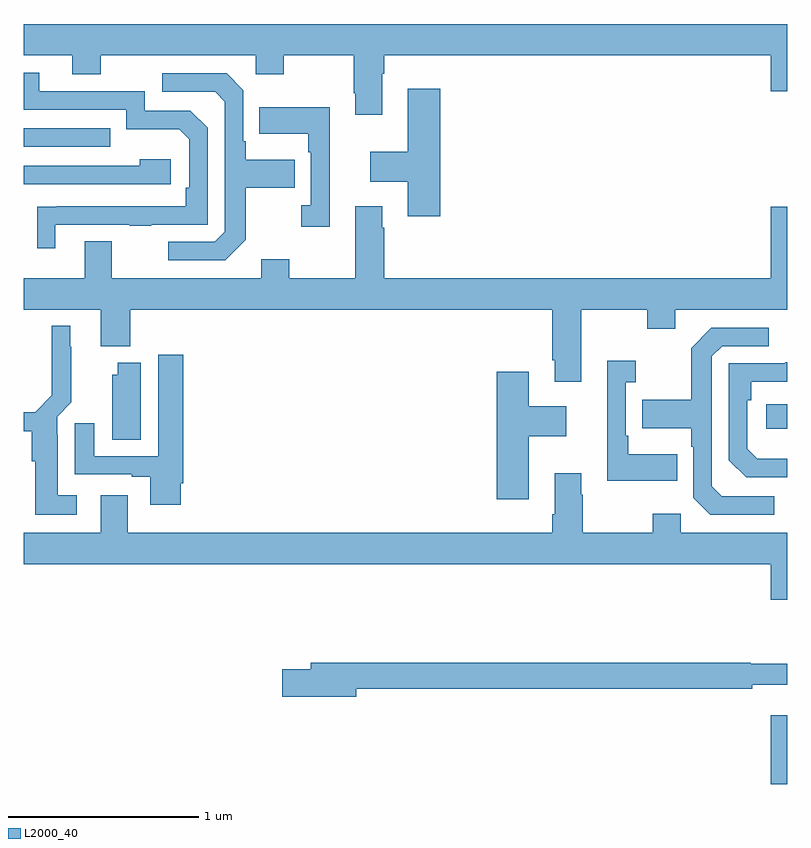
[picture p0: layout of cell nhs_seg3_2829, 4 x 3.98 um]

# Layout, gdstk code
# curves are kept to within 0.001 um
import gdstk
lib = gdstk.Library(unit=1e-6, precision=1e-09)
def R(c, l, rs):  # rectangles x0, y0, x1, y1
    for r in rs: c.add(gdstk.rectangle(r[:2], r[2:], *l))
def P(c, l, *ps):  # polygons
    for p in ps: c.add(gdstk.Polygon(p, *l))
L2000_40 = (2000, 40)

nhs_seg3_2829 = lib.new_cell('nhs_seg3_2829')
R(nhs_seg3_2829, L2000_40, [(260.912,730.4,261,730.759), (260.889,732.26,261,732.39), (257,733.737,257.453,733.833)])
P(nhs_seg3_2829, L2000_40, [(258.877,734.12),(258.89,734.12),(258.89,734.216),(260.912,734.216),(260.912,734.028),(261,734.028),(261,734.38),(257,734.38),(257,734.216),(257.255,734.216),(257.255,734.117),(257.403,734.117),(257.403,734.216),(258.216,734.216),(258.216,734.117),(258.363,734.117),(258.363,734.216),(258.73,734.216),(258.73,734.017),(258.737,734.017),(258.737,733.905),(258.877,733.905)],
  [(257.167,733.329),(257.557,733.329),(257.557,733.324),(257.669,733.324),(257.669,733.329),(257.964,733.329),(257.964,733.836),(257.874,733.926),(257.634,733.926),(257.634,734.028),(257.083,734.028),(257.083,734.124),(257,734.124),(257,733.932),(257.538,733.932),(257.538,733.829),(257.815,733.829),(257.868,733.776),(257.868,733.522),(257.848,733.522),(257.848,733.425),(257.071,733.424),(257.071,733.206),(257.167,733.206)],
  [(258.163,733.249),(258.163,733.522),(258.419,733.522),(258.419,733.669),(258.163,733.669),(258.163,733.765),(258.15,733.765),(258.15,734.034),(258.063,734.121),(257.727,734.121),(257.727,734.025),(258.003,734.025),(258.054,733.974),(258.054,733.293),(258,733.239),(257.757,733.239),(257.757,733.143),(258.057,733.143)],
  [(259.181,734.041),(259.013,734.041),(259.013,733.711),(258.816,733.711),(258.816,733.553),(259.013,733.553),(259.013,733.374),(259.181,733.374)],
  [(258.602,733.945),(258.235,733.945),(258.235,733.805),(258.492,733.805),(258.492,733.709),(258.504,733.709),(258.504,733.43),(258.453,733.43),(258.453,733.317),(258.602,733.317)],
  [(257.77,733.672),(257.609,733.672),(257.609,733.638),(257,733.638),(257,733.542),(257.77,733.542)],
  [(259.921,732.884),(260.266,732.884),(260.266,732.785),(260.413,732.785),(260.413,732.884),(261,732.884),(261,733.423),(260.912,733.423),(260.912,733.048),(258.89,733.048),(258.89,733.313),(258.877,733.313),(258.877,733.426),(258.737,733.426),(258.737,733.048),(258.392,733.048),(258.392,733.147),(258.245,733.147),(258.245,733.048),(257.461,733.048),(257.461,733.243),(257.321,733.243),(257.321,733.048),(257,733.048),(257,732.884),(257.405,732.884),(257.405,732.692),(257.558,732.692),(257.558,732.884),(259.769,732.884),(259.769,732.619),(259.781,732.619),(259.781,732.507),(259.921,732.507)],
  [(257.278,731.911),(257.179,731.911),(257.179,732.23),(257.175,732.23),(257.175,732.324),(257.249,732.398),(257.249,732.689),(257.245,732.689),(257.245,732.799),(257.147,732.799),(257.148,732.436),(257.06,732.348),(257,732.348),(257,732.247),(257.042,732.247),(257.042,732.09),(257.06,732.09),(257.06,731.81),(257.278,731.81)],
  [(260.932,731.907),(260.655,731.907),(260.604,731.958),(260.604,732.639),(260.658,732.693),(260.902,732.693),(260.902,732.789),(260.601,732.789),(260.496,732.683),(260.496,732.411),(260.239,732.411),(260.239,732.263),(260.496,732.263),(260.496,732.167),(260.508,732.167),(260.508,731.898),(260.595,731.811),(260.932,731.811)],
  [(257.824,731.974),(257.837,731.974),(257.837,732.649),(257.705,732.649),(257.705,732.117),(257.371,732.117),(257.371,732.289),(257.267,732.289),(257.267,732.021),(257.567,732.021),(257.567,732.009),(257.663,732.009),(257.663,731.862),(257.824,731.862)],
  [(260.423,732.127),(260.166,732.127),(260.166,732.223),(260.154,732.223),(260.154,732.503),(260.206,732.503),(260.206,732.616),(260.057,732.616),(260.057,731.987),(260.423,731.987)],
  [(261,732.103),(260.843,732.103),(260.79,732.156),(260.79,732.41),(260.81,732.41),(260.81,732.507),(261,732.507),(261,732.608),(260.989,732.608),(260.989,732.603),(260.694,732.603),(260.694,732.096),(260.784,732.006),(261,732.006)],
  [(257.614,732.607),(257.492,732.607),(257.492,732.543),(257.465,732.543),(257.465,732.202),(257.614,732.202)],
  [(259.645,732.221),(259.843,732.221),(259.843,732.379),(259.645,732.379),(259.645,732.559),(259.478,732.559),(259.478,731.892),(259.645,731.892)],
  [(261,731.716),(260.442,731.716),(260.442,731.815),(260.296,731.815),(260.296,731.716),(259.929,731.716),(259.929,731.915),(259.921,731.915),(259.921,732.028),(259.781,732.028),(259.781,731.812),(259.769,731.812),(259.769,731.716),(257.545,731.716),(257.545,731.911),(257.405,731.911),(257.405,731.716),(257,731.716),(257,731.552),(260.912,731.552),(260.912,731.364),(261,731.364)],
  [(258.742,730.9),(260.816,730.9),(260.816,730.919),(261,730.919),(261,731.029),(260.807,731.029),(260.807,731.036),(258.503,731.036),(258.503,731),(258.354,731),(258.354,730.858),(258.742,730.858)])

lib.write_gds('nhs_seg3_2829.gds')
